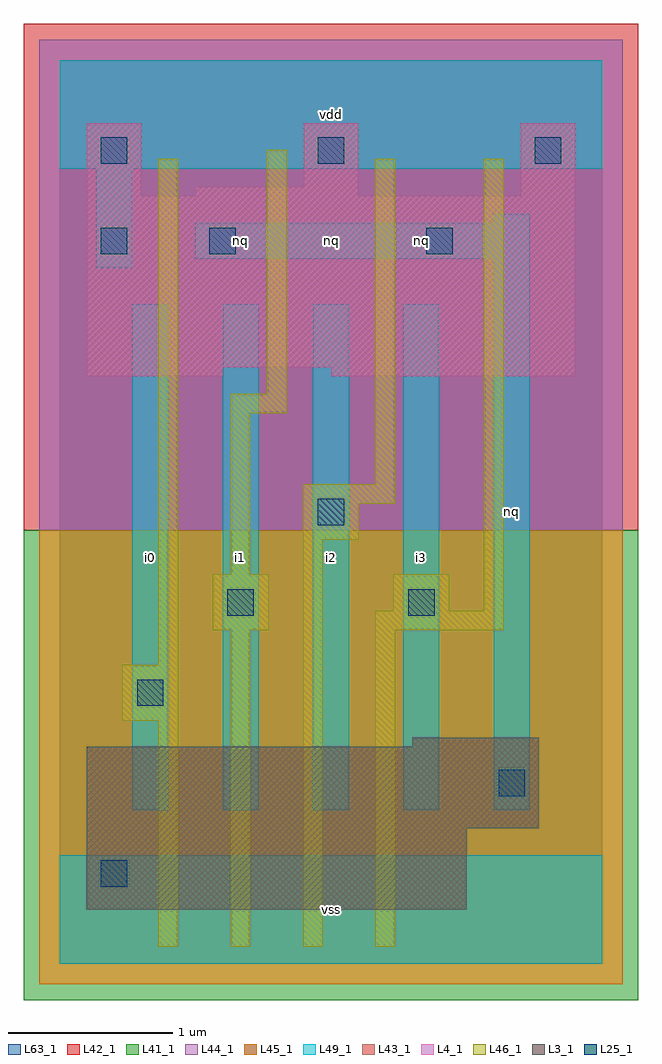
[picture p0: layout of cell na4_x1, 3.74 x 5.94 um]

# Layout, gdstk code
import gdstk
lib = gdstk.Library(unit=1e-6, precision=1e-09)
def R(c, l, rs):  # rectangles x0, y0, x1, y1
    for r in rs: c.add(gdstk.rectangle(r[:2], r[2:], *l))
def A(c, l, x, y, w, h, nx, ny, dx, dy):  # array of equal rectangles
    R(c, l, [(x+i*dx, y+j*dy, x+i*dx+w, y+j*dy+h) for i in range(nx) for j in range(ny)])
L3_1 = (3, 1)
L4_1 = (4, 1)
L25_1 = (25, 1)
L41_1 = (41, 1)
L42_1 = (42, 1)
L43_1 = (43, 1)
L44_1 = (44, 1)
L45_1 = (45, 1)
L46_1 = (46, 1)
L49_1 = (49, 1)
L63_1 = (63, 1)

na4_x1 = lib.new_cell('na4_x1')
R(na4_x1, L3_1, [(0.165,0.33,2.475,0.825), (0.165,0.825,2.915,1.32), (2.145,1.32,2.915,1.375)])
R(na4_x1, L4_1, [(0.165,3.575,0.99,3.63), (1.65,3.575,3.135,3.63), (0.165,3.63,3.135,4.675), (0.165,4.675,0.495,5.115), (0.825,4.675,1.815,4.73), (2.805,4.675,3.135,5.115), (1.485,4.73,1.815,5.115)])
A(na4_x1, L25_1, 0.25, 4.87, 0.16, 0.16, 3, 1, 1.32, 0)
R(na4_x1, L25_1, [(0.25,0.47,0.41,0.63), (2.67,1.02,2.83,1.18), (0.47,1.57,0.63,1.73), (1.02,2.12,1.18,2.28), (2.12,2.12,2.28,2.28), (1.57,2.67,1.73,2.83), (0.25,4.32,0.41,4.48), (0.91,4.32,1.07,4.48), (2.23,4.32,2.39,4.48)])
R(na4_x1, L41_1, [(-0.22,-0.22,3.52,2.64)])
R(na4_x1, L42_1, [(-0.22,2.64,3.52,5.72)])
R(na4_x1, L43_1, [(0.165,0.33,2.475,0.825), (0.165,0.825,2.915,1.32), (2.145,1.32,2.915,1.375), (0.165,3.575,0.99,3.63), (1.65,3.575,3.135,3.63), (0.165,3.63,3.135,4.675), (0.165,4.675,0.495,5.115), (0.825,4.675,1.815,4.73), (2.805,4.675,3.135,5.115), (1.485,4.73,1.815,5.115)])
R(na4_x1, L44_1, [(-0.125,2.64,3.425,5.625)])
R(na4_x1, L45_1, [(-0.125,-0.125,3.425,2.64)])
R(na4_x1, L46_1, [(0.6,0.105,0.72,1.48), (1.04,0.105,1.16,2.03), (1.48,0.105,1.6,2.58), (1.92,0.105,2.04,2.03), (0.38,1.48,0.72,1.82), (0.6,1.82,0.72,4.9), (0.93,2.03,1.27,2.37), (1.92,2.03,2.7,2.15), (2.03,2.15,2.37,2.37), (2.58,2.15,2.7,4.9), (1.04,2.37,1.16,3.35), (1.48,2.58,1.82,2.8), (1.48,2.8,2.04,2.92), (1.92,2.92,2.04,4.9), (1.04,3.35,1.38,3.47), (1.26,3.47,1.38,4.955)])
A(na4_x1, L49_1, 0.44, 0.935, 0.22, 3.08, 4, 1, 0.55, 0)
R(na4_x1, L49_1, [(0,0,3.3,0.66), (2.64,0.935,2.86,4.29), (0.22,4.235,0.44,4.84), (0.825,4.29,2.86,4.51), (2.64,4.51,2.86,4.565), (0,4.84,3.3,5.5)])
R(na4_x1, L63_1, [(0,0,3.3,5.5)])
na4_x1.add(gdstk.Label('i0', (0.55,2.475), layer=49, texttype=1))
na4_x1.add(gdstk.Label('i1', (1.1,2.475), layer=49, texttype=1))
na4_x1.add(gdstk.Label('nq', (1.1,4.4), layer=49, texttype=1))
na4_x1.add(gdstk.Label('vss', (1.65,0.33), layer=49, texttype=1))
na4_x1.add(gdstk.Label('i2', (1.65,2.475), layer=49, texttype=1))
na4_x1.add(gdstk.Label('i3', (2.2,2.475), layer=49, texttype=1))
na4_x1.add(gdstk.Label('nq', (1.65,4.4), layer=49, texttype=1))
na4_x1.add(gdstk.Label('vdd', (1.65,5.17), layer=49, texttype=1))
na4_x1.add(gdstk.Label('nq', (2.2,4.4), layer=49, texttype=1))
na4_x1.add(gdstk.Label('nq', (2.75,2.75), layer=49, texttype=1))

lib.write_gds('na4_x1.gds')
